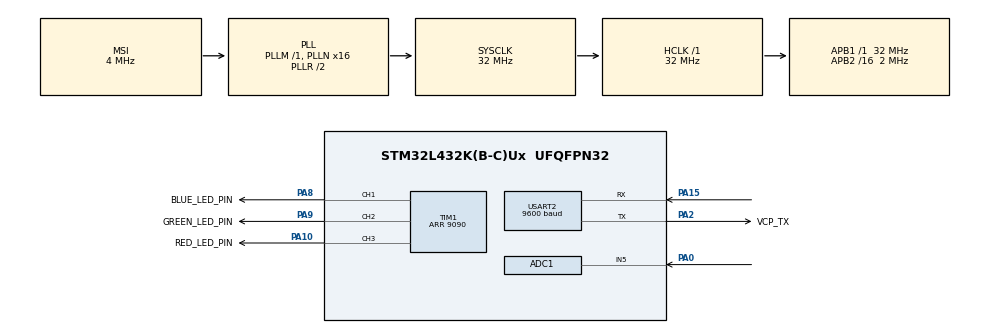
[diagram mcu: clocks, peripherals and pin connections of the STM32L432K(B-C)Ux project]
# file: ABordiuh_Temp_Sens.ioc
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ADC1.Channel-0\#ChannelRegularConversion=ADC_CHANNEL_5
ADC1.NbrOfConversionFlag=1
ADC1.OffsetNumber-0\#ChannelRegularConversion=ADC_OFFSET_NONE
ADC1.Rank-0\#ChannelRegularConversion=1
ADC1.SamplingTime-0\#ChannelRegularConversion=ADC_SAMPLETIME_2CYCLES_5
ADC1.master=1
Mcu.Family=STM32L4
Mcu.Name=STM32L432K(B-C)Ux
Mcu.Package=UFQFPN32
NVIC.PriorityGroup=NVIC_PRIORITYGROUP_4
NVIC.TIM1_TRG_COM_IRQn=true\:0\:0\:false\:false\:true
PA0-CK_IN.Signal=ADCx_IN5
PA10.GPIO_Label=RED_LED_PIN
PA10.GPIO_ModeDefaultPP=GPIO_MODE_AF_PP
PA10.GPIO_PuPd=GPIO_NOPULL
PA10.GPIO_Speed=GPIO_SPEED_FREQ_LOW
PA10.Signal=S_TIM1_CH3
PA13\ (JTMS-SWDIO).GPIO_Label=SWDIO
PA13\ (JTMS-SWDIO).Signal=SYS_JTMS-SWDIO
PA14\ (JTCK-SWCLK).GPIO_Label=SWCLK
PA14\ (JTCK-SWCLK).Signal=SYS_JTCK-SWCLK
PA15\ (JTDI).Mode=Asynchronous
PA15\ (JTDI).Signal=USART2_RX
PA2.GPIO_Label=VCP_TX
PA2.Mode=Asynchronous
PA2.Signal=USART2_TX
PA8.GPIO_Label=BLUE_LED_PIN
PA8.GPIO_ModeDefaultPP=GPIO_MODE_AF_PP
PA8.GPIO_PuPd=GPIO_NOPULL
PA8.GPIO_Speed=GPIO_SPEED_FREQ_LOW
PA8.Signal=S_TIM1_CH1
PA9.GPIO_Label=GREEN_LED_PIN
PA9.GPIO_ModeDefaultPP=GPIO_MODE_AF_PP
PA9.GPIO_PuPd=GPIO_NOPULL
PA9.GPIO_Speed=GPIO_SPEED_FREQ_LOW
PA9.Signal=S_TIM1_CH2
PC14-OSC32_IN\ (PC14).Signal=RCC_OSC32_IN
PC15-OSC32_OUT\ (PC15).Signal=RCC_OSC32_OUT
ProjectManager.HeapSize=0x200
ProjectManager.StackSize=0x400
ProjectManager.TargetToolchain=TrueSTUDIO
RCC.ADCFreq_Value=32000000
RCC.AHBFreq_Value=32000000
RCC.APB1Freq_Value=32000000
RCC.APB1TimFreq_Value=32000000
RCC.APB2CLKDivider=RCC_HCLK_DIV16
RCC.APB2Freq_Value=2000000
RCC.APB2TimFreq_Value=4000000
RCC.CortexFreq_Value=32000000
RCC.HCLKFreq_Value=32000000
RCC.HSE_VALUE=8000000
RCC.HSI16_VALUE=16000000
RCC.HSI48_VALUE=48000000
RCC.HSI_VALUE=16000000
RCC.LSE_VALUE=32768
RCC.MSI_VALUE=4000000
RCC.PLLMUL=RCC_PLLMUL_4
RCC.PLLN=16
RCC.PLLSAI1N=16
RCC.SYSCLKFreq_VALUE=32000000
RCC.SYSCLKSource=RCC_SYSCLKSOURCE_PLLCLK
RCC.USBFreq_Value=32000000
RCC.VCOOutputFreq_Value=64000000
SH.ADCx_IN5.0=ADC1_IN5,IN5-Single-Ended
SH.S_TIM1_CH1.0=TIM1_CH1,PWM Generation1 CH1
SH.S_TIM1_CH2.0=TIM1_CH2,PWM Generation2 CH2
SH.S_TIM1_CH3.0=TIM1_CH3,PWM Generation3 CH3
TIM1.Channel-PWM\ Generation2\ CH2=TIM_CHANNEL_2
TIM1.Channel-PWM\ Generation3\ CH3=TIM_CHANNEL_3
TIM1.Period=9090
USART2.BaudRate=9600
USART2.WordLength=UART_WORDLENGTH_8B
VP_TIM1_VS_ClockSourceINT.Mode=Internal
board=NUCLEO-L432KC

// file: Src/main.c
/**
 ******************************************************************************
 *  FILE          : main.c
 *  PROJECT       : PROG 8125 - Assignment #3 - Temperature sensor
 *  PROGRAMMER    : Artem Bordiuh
 *  FIRST VERSION : 2017-03-21
 *  DESCRIPTION   : Based on the temperature measurements from the external
 *  				MCP7000A sensor - STM will print temperature on HD44780
 *  				display and glow RGB LED according to a table below and:
 *  				-15	C to 5.0 C    	blue
 *  				5.1	C to 15 C   	yellow
 *  				15.1 C to 25 C 		orange
 *  				Above 25.1 C   		red
 *
 ******************************************************************************/

#include "main.h"
#include "stm32l4xx_hal.h"

ADC_HandleTypeDef hadc1;

TIM_HandleTypeDef htim1;

UART_HandleTypeDef huart2;

/* USER CODE BEGIN PV */
/* Private variables ---------------------------------------------------------*/

/* USER CODE END PV */

void SystemClock_Config(void);
void Error_Handler(void);
static void MX_GPIO_Init(void);
static void MX_USART2_UART_Init(void);
static void MX_TIM1_Init(void);
static void MX_ADC1_Init(void);
void HAL_TIM_MspPostInit(TIM_HandleTypeDef *htim);

/* USER CODE BEGIN PFP */

/* Private function prototypes -----------------------------------------------*/
int32_t map(int32_t x, int32_t in_min, int32_t in_max, int32_t out_min, int32_t out_max);
void setRGBColorForTim1Ch1to3(uint8_t red, uint8_t blue, uint8_t green);

/* USER CODE END PFP */

/* USER CODE BEGIN 0 */

/**
 * @brief  Transform the input value to desire scale
 * @param  Value for mapping
 * @param  Posiible minimum of the mapping value
 * @param  Posiible maximum of the mapping value
 * @param  Mapped minimum scale
 * @param  Mapped maximum scale
 * @retval Scaled value
 */
int32_t map(int32_t x, int32_t in_min, int32_t in_max, int32_t out_min, int32_t out_max){
	return (x - in_min) * (out_max - out_min) / (in_max - in_min) + out_min;
}

/**
 * @brief  Will set pulse values for the PWM output of TIM1 on Chanel 1 to 3
 * 			to a scaled values according to a desired mixed RGB color.
 * 			Example:
 * 			0 to 255 of any color mapped from 9090 to 0 of pulse accordingly
 * 			9090 to 0 because 9090 is high and LED I installed with a common anode
 * 			so 9090 is LED off status
 * @param  Red 		from 0 to 255
 * @param  Green 	from 0 to 255
 * @param  Blue 	from 0 to 255
 * @retval None
 */
void setRGBColorForTim1Ch1to3(uint8_t red, uint8_t blue, uint8_t green){
	HAL_TIM_PWM_Stop(&htim1, TIM_CHANNEL_1);
	HAL_TIM_PWM_Stop(&htim1, TIM_CHANNEL_2);
	HAL_TIM_PWM_Stop(&htim1, TIM_CHANNEL_3);

	__HAL_TIM_SetCompare(&htim1, TIM_CHANNEL_1, map(green, 0, 255, 9090, 0));
	__HAL_TIM_SetCompare(&htim1, TIM_CHANNEL_2, map(blue, 0, 255, 9090, 0));
	__HAL_TIM_SetCompare(&htim1, TIM_CHANNEL_3, map(red, 0, 255, 9090, 0));

	HAL_TIM_PWM_Start(&htim1, TIM_CHANNEL_1);
	HAL_TIM_PWM_Start(&htim1, TIM_CHANNEL_2);
	HAL_TIM_PWM_Start(&htim1, TIM_CHANNEL_3);
}

/* USER CODE END 0 */

int main(void){

	/* MCU Configuration----------------------------------------------------------*/

	/* Reset of all peripherals, Initializes the Flash interface and the Systick. */
	HAL_Init();

	/* Configure the system clock */
	SystemClock_Config();

	/* Initialize all configured peripherals */
	MX_GPIO_Init();
	MX_USART2_UART_Init();
	MX_TIM1_Init();
	MX_ADC1_Init();
	HD44780_Init();

	/* USER CODE BEGIN 2 */

	/*Variable for storing ADC value from MCP7000A*/
	__IO uint16_t uhADCxConvertedValue = 0; //_IO is a macro

	/* USER CODE END 2 */

	/* Infinite loop */
	while (1)
	{

		/* USER CODE BEGIN 3 */
		/*Reading the temperature from the ADC channel with MCP7000A*/
		if (HAL_ADC_Start(&hadc1) != HAL_OK) {
			/* Start Conversation Error */
			printf("HAL_ADC_Start Error\r\n");
		}
		if (HAL_ADC_PollForConversion(&hadc1, 10) != HAL_OK) {
			printf("HAL_ADC_PollForConversion Error\r\n");
		} else {
			/* ADC conversion completed */
			/*##-5- Get the converted value of regular channel  ##*/
			uhADCxConvertedValue = HAL_ADC_GetValue(&hadc1);
		}
		HAL_Delay(150);

		/*Converting ADC voltage to temperature in Celsius according MCP7000A datasheet*/
		int32_t temp_celsius = ((3.3/4095*uhADCxConvertedValue*1000)-500)/10;

		/*Char array for converting temp_celsius to string and the converting function*/
		char str_temperature[3]={0};
		snprintf(str_temperature, 3, "%d", temp_celsius);

		/*According to temperature - color requirements, glow LED for a desire RGB color*/
		if(temp_celsius>=-15 && temp_celsius<=5){
			setRGBColorForTim1Ch1to3(0,0,255); 		//BLUE
		}
		if(temp_celsius>5 && temp_celsius<=15){
			setRGBColorForTim1Ch1to3(127,127,0); 	//YELLOW
		}
		if(temp_celsius>15 && temp_celsius<=25){
			setRGBColorForTim1Ch1to3(180,127,0); 	//ORANGE
		}
		if(temp_celsius>25){
			setRGBColorForTim1Ch1to3(255,0,0); 		//RED
		}

		/*Printing temperature to a display*/
		HD44780_ClrScr();
		HD44780_PutStr("Temp = ");
		HD44780_PutStr(str_temperature);
		HD44780_PutStr(" C");

	}
	/* USER CODE END 3 */

}

/** System Clock Configuration
 */
void SystemClock_Config(void)
{

	RCC_OscInitTypeDef RCC_OscInitStruct;
	RCC_ClkInitTypeDef RCC_ClkInitStruct;
	RCC_PeriphCLKInitTypeDef PeriphClkInit;

	/**Initializes the CPU, AHB and APB busses clocks
	 */
	RCC_OscInitStruct.OscillatorType = RCC_OSCILLATORTYPE_MSI;
	RCC_OscInitStruct.MSIState = RCC_MSI_ON;
	RCC_OscInitStruct.MSICalibrationValue = 0;
	RCC_OscInitStruct.MSIClockRange = RCC_MSIRANGE_6;
	RCC_OscInitStruct.PLL.PLLState = RCC_PLL_ON;
	RCC_OscInitStruct.PLL.PLLSource = RCC_PLLSOURCE_MSI;
	RCC_OscInitStruct.PLL.PLLM = 1;
	RCC_OscInitStruct.PLL.PLLN = 16;
	RCC_OscInitStruct.PLL.PLLP = RCC_PLLP_DIV7;
	RCC_OscInitStruct.PLL.PLLQ = RCC_PLLQ_DIV2;
	RCC_OscInitStruct.PLL.PLLR = RCC_PLLR_DIV2;
	if (HAL_RCC_OscConfig(&RCC_OscInitStruct) != HAL_OK)
	{
		Error_Handler();
	}

	/**Initializes the CPU, AHB and APB busses clocks
	 */
	RCC_ClkInitStruct.ClockType = RCC_CLOCKTYPE_HCLK|RCC_CLOCKTYPE_SYSCLK
			|RCC_CLOCKTYPE_PCLK1|RCC_CLOCKTYPE_PCLK2;
	RCC_ClkInitStruct.SYSCLKSource = RCC_SYSCLKSOURCE_PLLCLK;
	RCC_ClkInitStruct.AHBCLKDivider = RCC_SYSCLK_DIV1;
	RCC_ClkInitStruct.APB1CLKDivider = RCC_HCLK_DIV1;
	RCC_ClkInitStruct.APB2CLKDivider = RCC_HCLK_DIV16;

	if (HAL_RCC_ClockConfig(&RCC_ClkInitStruct, FLASH_LATENCY_1) != HAL_OK)
	{
		Error_Handler();
	}

	PeriphClkInit.PeriphClockSelection = RCC_PERIPHCLK_USART2|RCC_PERIPHCLK_ADC;
	PeriphClkInit.Usart2ClockSelection = RCC_USART2CLKSOURCE_PCLK1;
	PeriphClkInit.AdcClockSelection = RCC_ADCCLKSOURCE_PLLSAI1;
	PeriphClkInit.PLLSAI1.PLLSAI1Source = RCC_PLLSOURCE_MSI;
	PeriphClkInit.PLLSAI1.PLLSAI1M = 1;
	PeriphClkInit.PLLSAI1.PLLSAI1N = 16;
	PeriphClkInit.PLLSAI1.PLLSAI1P = RCC_PLLP_DIV7;
	PeriphClkInit.PLLSAI1.PLLSAI1Q = RCC_PLLQ_DIV2;
	PeriphClkInit.PLLSAI1.PLLSAI1R = RCC_PLLR_DIV2;
	PeriphClkInit.PLLSAI1.PLLSAI1ClockOut = RCC_PLLSAI1_ADC1CLK;
	if (HAL_RCCEx_PeriphCLKConfig(&PeriphClkInit) != HAL_OK)
	{
		Error_Handler();
	}

	/**Configure the main internal regulator output voltage
	 */
	if (HAL_PWREx_ControlVoltageScaling(PWR_REGULATOR_VOLTAGE_SCALE1) != HAL_OK)
	{
		Error_Handler();
	}

	/**Configure the Systick interrupt time
	 */
	HAL_SYSTICK_Config(HAL_RCC_GetHCLKFreq()/1000);

	/**Configure the Systick
	 */
	HAL_SYSTICK_CLKSourceConfig(SYSTICK_CLKSOURCE_HCLK);

	/* SysTick_IRQn interrupt configuration */
	HAL_NVIC_SetPriority(SysTick_IRQn, 0, 0);
}

/* ADC1 init function */
static void MX_ADC1_Init(void)
{

	ADC_ChannelConfTypeDef sConfig;

	/**Common config
	 */
	hadc1.Instance = ADC1;
	hadc1.Init.ClockPrescaler = ADC_CLOCK_ASYNC_DIV1;
	hadc1.Init.Resolution = ADC_RESOLUTION_12B;
	hadc1.Init.DataAlign = ADC_DATAALIGN_RIGHT;
	hadc1.Init.ScanConvMode = ADC_SCAN_DISABLE;
	hadc1.Init.EOCSelection = ADC_EOC_SINGLE_CONV;
	hadc1.Init.LowPowerAutoWait = DISABLE;
	hadc1.Init.ContinuousConvMode = DISABLE;
	hadc1.Init.NbrOfConversion = 1;
	hadc1.Init.DiscontinuousConvMode = DISABLE;
	hadc1.Init.NbrOfDiscConversion = 1;
	hadc1.Init.ExternalTrigConv = ADC_SOFTWARE_START;
	hadc1.Init.ExternalTrigConvEdge = ADC_EXTERNALTRIGCONVEDGE_NONE;
	hadc1.Init.DMAContinuousRequests = DISABLE;
	hadc1.Init.Overrun = ADC_OVR_DATA_PRESERVED;
	hadc1.Init.OversamplingMode = DISABLE;
	if (HAL_ADC_Init(&hadc1) != HAL_OK)
	{
		Error_Handler();
	}

	/**Configure Regular Channel
	 */
	sConfig.Channel = ADC_CHANNEL_5;
	sConfig.Rank = 1;
	sConfig.SamplingTime = ADC_SAMPLETIME_2CYCLES_5;
	sConfig.SingleDiff = ADC_SINGLE_ENDED;
	sConfig.OffsetNumber = ADC_OFFSET_NONE;
	sConfig.Offset = 0;
	if (HAL_ADC_ConfigChannel(&hadc1, &sConfig) != HAL_OK)
	{
		Error_Handler();
	}

}

/* TIM1 init function */
static void MX_TIM1_Init(void)
{

	TIM_ClockConfigTypeDef sClockSourceConfig;
	TIM_MasterConfigTypeDef sMasterConfig;
	TIM_OC_InitTypeDef sConfigOC;
	TIM_BreakDeadTimeConfigTypeDef sBreakDeadTimeConfig;

	htim1.Instance = TIM1;
	htim1.Init.Prescaler = 0;
	htim1.Init.CounterMode = TIM_COUNTERMODE_UP;
	htim1.Init.Period = 9090;
	htim1.Init.ClockDivision = TIM_CLOCKDIVISION_DIV1;
	htim1.Init.RepetitionCounter = 0;
	if (HAL_TIM_Base_Init(&htim1) != HAL_OK)
	{
		Error_Handler();
	}

	sClockSourceConfig.ClockSource = TIM_CLOCKSOURCE_INTERNAL;
	if (HAL_TIM_ConfigClockSource(&htim1, &sClockSourceConfig) != HAL_OK)
	{
		Error_Handler();
	}

	if (HAL_TIM_PWM_Init(&htim1) != HAL_OK)
	{
		Error_Handler();
	}

	sMasterConfig.MasterOutputTrigger = TIM_TRGO_RESET;
	sMasterConfig.MasterOutputTrigger2 = TIM_TRGO2_RESET;
	sMasterConfig.MasterSlaveMode = TIM_MASTERSLAVEMODE_DISABLE;
	if (HAL_TIMEx_MasterConfigSynchronization(&htim1, &sMasterConfig) != HAL_OK)
	{
		Error_Handler();
	}

	sConfigOC.OCMode = TIM_OCMODE_PWM1;
	sConfigOC.Pulse = 0;
	sConfigOC.OCPolarity = TIM_OCPOLARITY_HIGH;
	sConfigOC.OCNPolarity = TIM_OCNPOLARITY_HIGH;
	sConfigOC.OCFastMode = TIM_OCFAST_DISABLE;
	sConfigOC.OCIdleState = TIM_OCIDLESTATE_RESET;
	sConfigOC.OCNIdleState = TIM_OCNIDLESTATE_RESET;
	if (HAL_TIM_PWM_ConfigChannel(&htim1, &sConfigOC, TIM_CHANNEL_1) != HAL_OK)
	{
		Error_Handler();
	}

	if (HAL_TIM_PWM_ConfigChannel(&htim1, &sConfigOC, TIM_CHANNEL_2) != HAL_OK)
	{
		Error_Handler();
	}

	if (HAL_TIM_PWM_ConfigChannel(&htim1, &sConfigOC, TIM_CHANNEL_3) != HAL_OK)
	{
		Error_Handler();
	}

	sBreakDeadTimeConfig.OffStateRunMode = TIM_OSSR_DISABLE;
	sBreakDeadTimeConfig.OffStateIDLEMode = TIM_OSSI_DISABLE;
	sBreakDeadTimeConfig.LockLevel = TIM_LOCKLEVEL_OFF;
	sBreakDeadTimeConfig.DeadTime = 0;
	sBreakDeadTimeConfig.BreakState = TIM_BREAK_DISABLE;
	sBreakDeadTimeConfig.BreakPolarity = TIM_BREAKPOLARITY_HIGH;
	sBreakDeadTimeConfig.BreakFilter = 0;
	sBreakDeadTimeConfig.Break2State = TIM_BREAK2_DISABLE;
	sBreakDeadTimeConfig.Break2Polarity = TIM_BREAK2POLARITY_HIGH;
	sBreakDeadTimeConfig.Break2Filter = 0;
	sBreakDeadTimeConfig.AutomaticOutput = TIM_AUTOMATICOUTPUT_DISABLE;
	if (HAL_TIMEx_ConfigBreakDeadTime(&htim1, &sBreakDeadTimeConfig) != HAL_OK)
	{
		Error_Handler();
	}

	HAL_TIM_MspPostInit(&htim1);

}

/* USART2 init function */
static void MX_USART2_UART_Init(void)
{

	huart2.Instance = USART2;
	huart2.Init.BaudRate = 9600;
	huart2.Init.WordLength = UART_WORDLENGTH_8B;
	huart2.Init.StopBits = UART_STOPBITS_1;
	huart2.Init.Parity = UART_PARITY_NONE;
	huart2.Init.Mode = UART_MODE_TX_RX;
	huart2.Init.HwFlowCtl = UART_HWCONTROL_NONE;
	huart2.Init.OverSampling = UART_OVERSAMPLING_16;
	huart2.Init.OneBitSampling = UART_ONE_BIT_SAMPLE_DISABLE;
	huart2.AdvancedInit.AdvFeatureInit = UART_ADVFEATURE_NO_INIT;
	if (HAL_UART_Init(&huart2) != HAL_OK)
	{
		Error_Handler();
	}

}

/** Configure pins as
 * Analog
 * Input
 * Output
 * EVENT_OUT
 * EXTI
 */
static void MX_GPIO_Init(void)
{

	/* GPIO Ports Clock Enable */
	__HAL_RCC_GPIOC_CLK_ENABLE();
	__HAL_RCC_GPIOA_CLK_ENABLE();

}

void Error_Handler(void)
{
	while(1)
	{
	}
}

/************************ (C) COPYRIGHT STMicroelectronics *****END OF FILE****/
